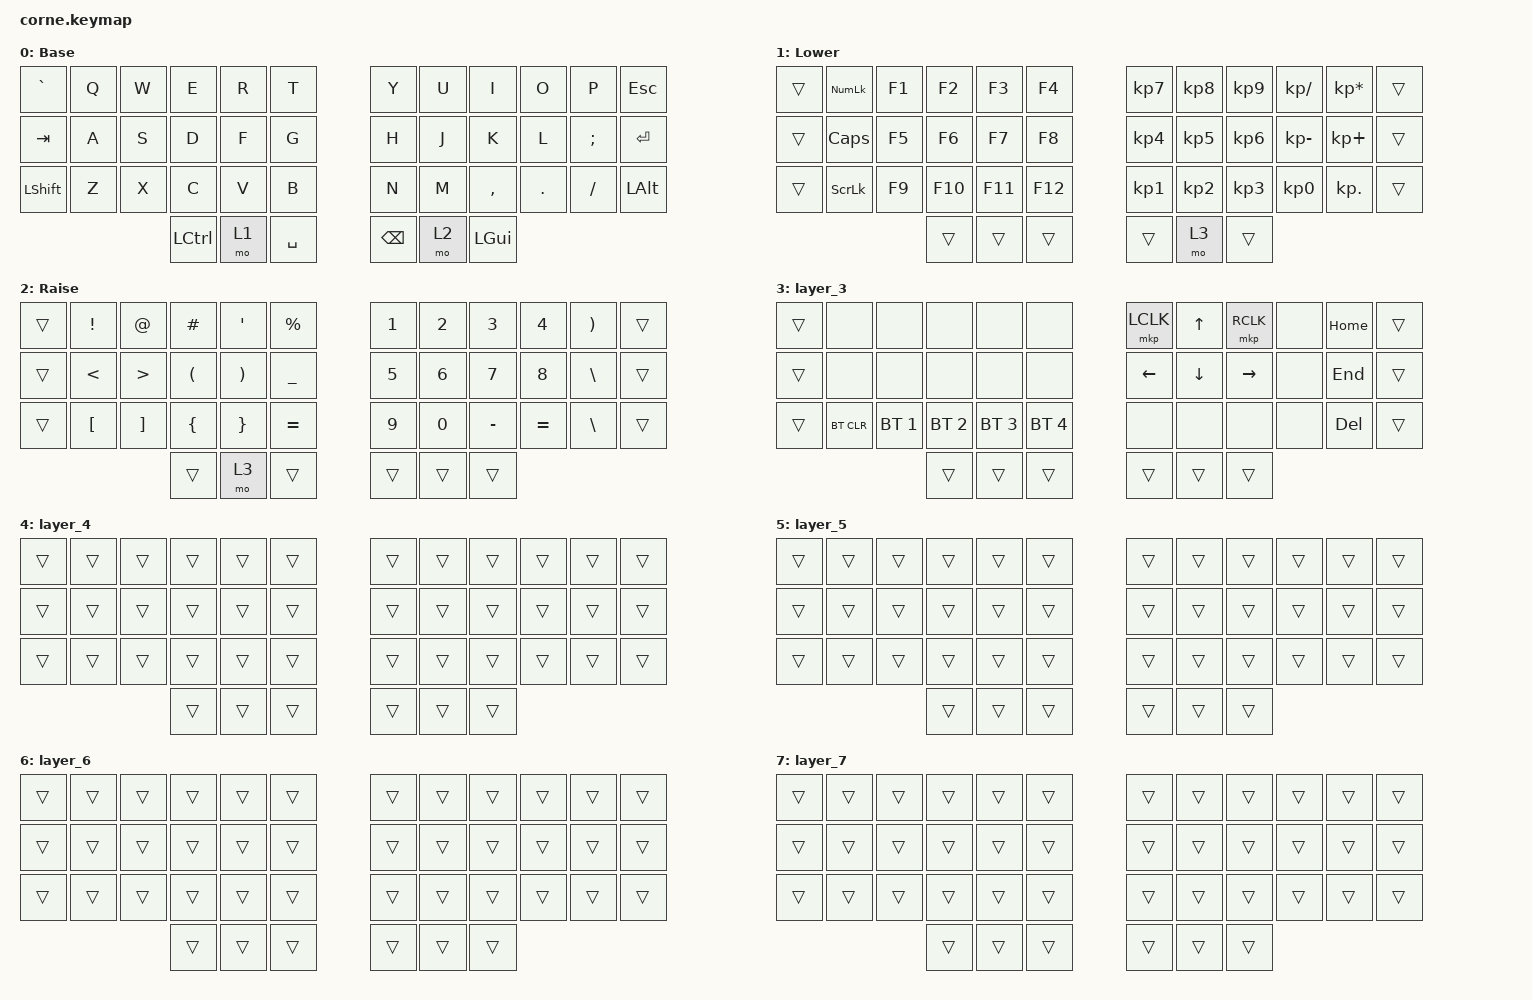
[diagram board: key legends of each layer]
/*
 * Copyright (c) 2020 The ZMK Contributors
 *
 * SPDX-License-Identifier: MIT
 */

#include <behaviors.dtsi>
#include <dt-bindings/zmk/bt.h>
#include <dt-bindings/zmk/keys.h>
#include <dt-bindings/zmk/mouse.h>

/ {
    keymap {
        compatible = "zmk,keymap";

        default_layer {
            // -----------------------------------------------------------------------------------------
            // |  TAB |  Q  |  W  |  E  |  R  |  T  |   |  Y  |  U   |  I  |  O  |  P  | BKSP |
            // | CTRL |  A  |  S  |  D  |  F  |  G  |   |  H  |  J   |  K  |  L  |  ;  |  '   |
            // | SHFT |  Z  |  X  |  C  |  V  |  B  |   |  N  |  M   |  ,  |  .  |  /  | ESC  |
            //                    | GUI | LWR | SPC |   | ENT | RSE  | ALT |

            label = "Base";
            bindings = <
&kp GRAVE  &kp Q  &kp W  &kp E      &kp R  &kp T        &kp Y     &kp U  &kp I      &kp O    &kp P     &kp ESC
&kp TAB    &kp A  &kp S  &kp D      &kp F  &kp G        &kp H     &kp J  &kp K      &kp L    &kp SEMI  &kp ENTER
&kp LSHFT  &kp Z  &kp X  &kp C      &kp V  &kp B        &kp N     &kp M  &kp COMMA  &kp DOT  &kp FSLH  &kp LALT
                         &kp LCTRL  &mo 1  &kp SPACE    &kp BSPC  &mo 2  &kp LGUI
            >;
        };

        lower_layer {
            // -----------------------------------------------------------------------------------------
            // |  TAB |  1  |  2  |  3  |  4  |  5  |   |  6  |  7  |  8  |  9  |  0  | BKSP |
            // | BTCLR| BT1 | BT2 | BT3 | BT4 | BT5 |   | LFT | DWN |  UP | RGT |     |      |
            // | SHFT |     |     |     |     |     |   |     |     |     |     |     |      |
            //                    |BTCLR|     | SPC |   | ENT |     | ALT |

            label = "Lower";
            bindings = <
&trans  &kp KP_NUMLOCK  &kp F1  &kp F2   &kp F3   &kp F4     &kp KP_NUMBER_7  &kp KP_NUMBER_8  &kp KP_NUMBER_9  &kp KP_SLASH     &kp KP_MULTIPLY  &trans
&trans  &kp CAPSLOCK    &kp F5  &kp F6   &kp F7   &kp F8     &kp KP_NUMBER_4  &kp KP_NUMBER_5  &kp KP_NUMBER_6  &kp KP_MINUS     &kp KP_PLUS      &trans
&trans  &kp SCROLLLOCK  &kp F9  &kp F10  &kp F11  &kp F12    &kp KP_NUMBER_1  &kp KP_NUMBER_2  &kp KP_NUMBER_3  &kp KP_NUMBER_0  &kp KP_DOT       &trans
                                &trans   &trans   &trans     &trans           &mo 3            &trans
            >;
        };

        raise_layer {
            // -----------------------------------------------------------------------------------------
            // |  TAB |  !  |  @  |  #  |  $  |  %  |   |  ^  |  &  |  *  |  (  |  )  | BKSP |
            // | CTRL |     |     |     |     |     |   |  -  |  =  |  [  |  ]  |  \  |  `   |
            // | SHFT |     |     |     |     |     |   |  _  |  +  |  {  |  }  | "|" |  ~   |
            //                    | GUI |     | SPC |   | ENT |     | ALT |

            label = "Raise";
            bindings = <
&trans  &kp EXCL       &kp AT            &kp HASH              &kp SQT                &kp PRCNT         &kp N1  &kp N2  &kp N3     &kp N4     &kp RPAR  &trans
&trans  &kp LESS_THAN  &kp GREATER_THAN  &kp LEFT_PARENTHESIS  &kp RIGHT_PARENTHESIS  &kp UNDERSCORE    &kp N5  &kp N6  &kp N7     &kp N8     &kp BSLH  &trans
&trans  &kp LBKT       &kp RBKT          &kp LEFT_BRACE        &kp RIGHT_BRACE        &kp EQUAL         &kp N9  &kp N0  &kp MINUS  &kp EQUAL  &kp BSLH  &trans
                                         &trans                &mo 3                  &trans            &trans  &trans  &trans
            >;
        };

        layer_3 {
            bindings = <
&trans  &none       &none         &none         &none         &none           &mkp LCLK  &kp UP_ARROW  &mkp RCLK  &none  &kp HOME  &trans
&trans  &none       &none         &none         &none         &none           &kp LEFT   &kp DOWN      &kp RIGHT  &none  &kp END   &trans
&trans  &bt BT_CLR  &bt BT_SEL 1  &bt BT_SEL 2  &bt BT_SEL 3  &bt BT_SEL 4    &none      &none         &none      &none  &kp DEL   &trans
                                  &trans        &trans        &trans          &trans     &trans        &trans
            >;
        };

        layer_4 {
            bindings = <
&trans  &trans  &trans  &trans  &trans  &trans    &trans  &trans  &trans  &trans  &trans  &trans
&trans  &trans  &trans  &trans  &trans  &trans    &trans  &trans  &trans  &trans  &trans  &trans
&trans  &trans  &trans  &trans  &trans  &trans    &trans  &trans  &trans  &trans  &trans  &trans
                        &trans  &trans  &trans    &trans  &trans  &trans
            >;
        };

        layer_5 {
            bindings = <
&trans  &trans  &trans  &trans  &trans  &trans    &trans  &trans  &trans  &trans  &trans  &trans
&trans  &trans  &trans  &trans  &trans  &trans    &trans  &trans  &trans  &trans  &trans  &trans
&trans  &trans  &trans  &trans  &trans  &trans    &trans  &trans  &trans  &trans  &trans  &trans
                        &trans  &trans  &trans    &trans  &trans  &trans
            >;
        };

        layer_6 {
            bindings = <
&trans  &trans  &trans  &trans  &trans  &trans    &trans  &trans  &trans  &trans  &trans  &trans
&trans  &trans  &trans  &trans  &trans  &trans    &trans  &trans  &trans  &trans  &trans  &trans
&trans  &trans  &trans  &trans  &trans  &trans    &trans  &trans  &trans  &trans  &trans  &trans
                        &trans  &trans  &trans    &trans  &trans  &trans
            >;
        };

        layer_7 {
            bindings = <
&trans  &trans  &trans  &trans  &trans  &trans    &trans  &trans  &trans  &trans  &trans  &trans
&trans  &trans  &trans  &trans  &trans  &trans    &trans  &trans  &trans  &trans  &trans  &trans
&trans  &trans  &trans  &trans  &trans  &trans    &trans  &trans  &trans  &trans  &trans  &trans
                        &trans  &trans  &trans    &trans  &trans  &trans
            >;
        };
    };
};
